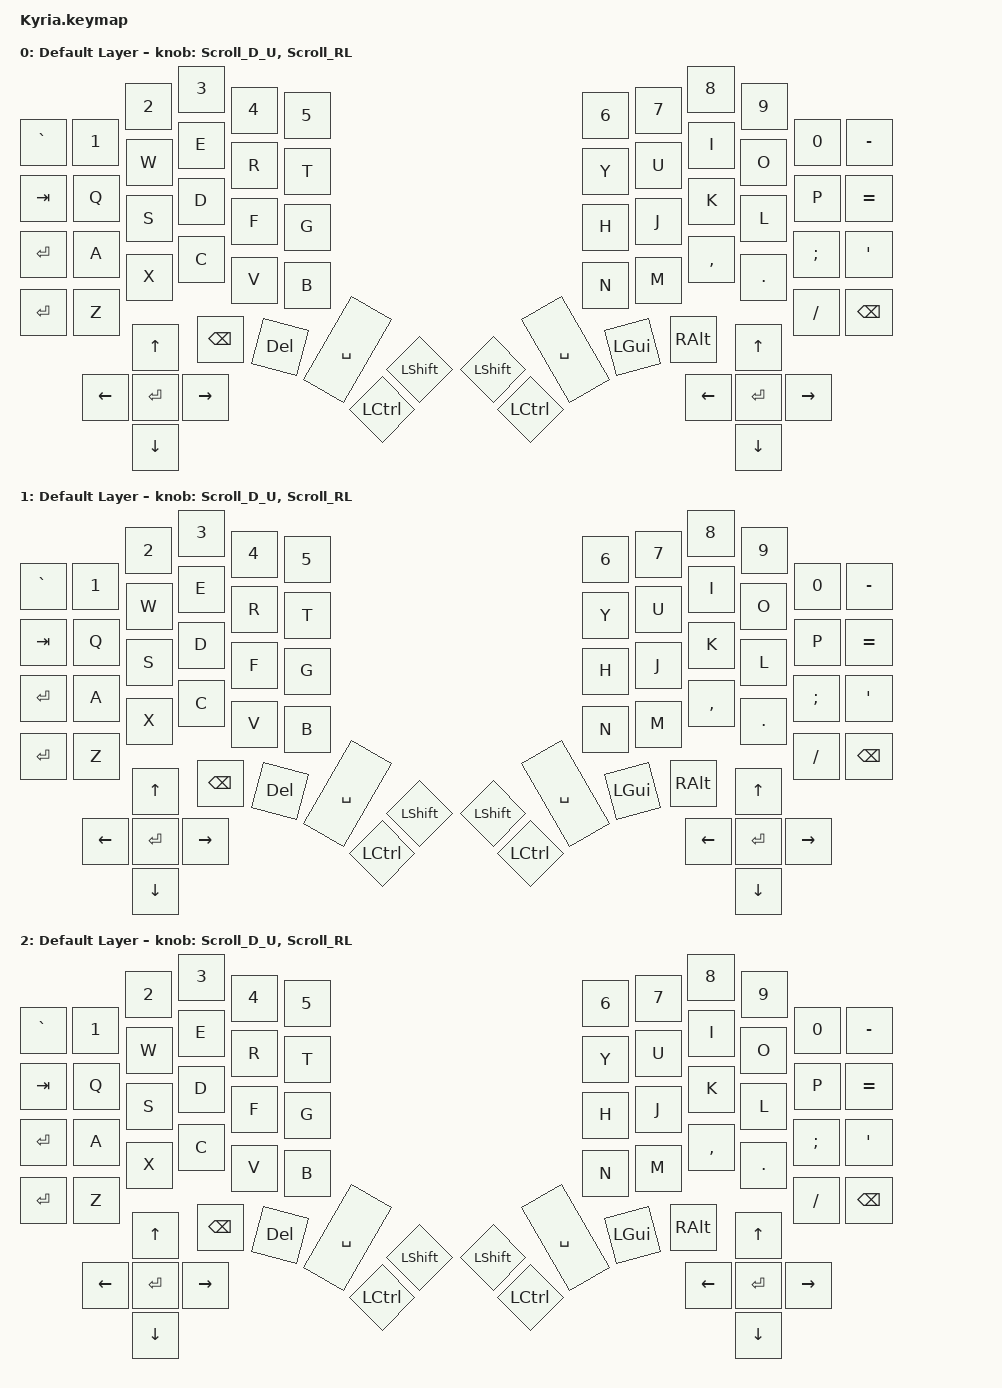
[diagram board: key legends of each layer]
/*
 * Copyright (c) 2020 The ZMK Contributors
 *
 * SPDX-License-Identifier: MIT
 */

#include <input/processors.dtsi>
#include <zephyr/dt-bindings/input/input-event-codes.h>
#include <dt-bindings/zmk/mouse.h>
#include <behaviors/mouse_keys.dtsi>
#include <behaviors.dtsi>
#include <dt-bindings/zmk/keys.h>
#include <dt-bindings/zmk/pointing.h>

#define ZMK_POINTING_DEFAULT_MOVE_VAL 1200  // 600
#define ZMK_POINTING_DEFAULT_SCRL_VAL 300   // mousescroll SPEED

&mmv_input_listener { input-processors = <&zip_xy_scaler 2 1>; };

&msc_input_listener { input-processors = <&zip_scroll_scaler 2 1>; };

&msc {
    acceleration-exponent = <1>;      // 0
    time-to-max-speed-ms = <3000>;       // 300
    delay-ms = <0>;                   // 0
};

&mmv {
    time-to-max-speed-ms = <1000>;
    acceleration-exponent = <1>;
    trigger-period-ms = <16>;
};

&soft_off {
    hold-time-ms = <3000>; // Only turn off it the key is held for 3 seconds or longer.
};

&mt { flavor = "tap-preferred"; };

&lt {
    tapping-term-ms = <300>;
    flavor = "balanced";
};

&sk {
    quick-release;
    lazy;
};

/ {
    behaviors {
        Scroll_D_U: Scroll_D_U {
            compatible = "zmk,behavior-sensor-rotate";
            label = "SCROLL_D_U";
            #sensor-binding-cells = <0>;
            bindings = <&msc SCRL_DOWN>, <&msc SCRL_UP>;

            tap-ms = <20>;
        };

        TD01: TD01 {
            compatible = "zmk,behavior-tap-dance";
            label = "TD01";
            #binding-cells = <0>;
            bindings = <&kp MINUS>, <&kp PERIOD>;
        };

        Scroll_U_D: Scroll_U_D {
            compatible = "zmk,behavior-sensor-rotate";
            label = "SCROLL_U_D";
            #sensor-binding-cells = <0>;
            bindings = <&msc SCRL_UP>, <&msc SCRL_DOWN>;

            tap-ms = <20>;
        };

        Scroll_LR: Scroll_LR {
            compatible = "zmk,behavior-sensor-rotate";
            label = "SCROLL_LR";
            #sensor-binding-cells = <0>;
            bindings = <&msc SCRL_LEFT>, <&msc SCRL_RIGHT>;

            tap-ms = <20>;
        };

        Scroll_RL: Scroll_RL {
            compatible = "zmk,behavior-sensor-rotate";
            label = "SCROLL_RL";
            #sensor-binding-cells = <0>;
            bindings = <&msc SCRL_RIGHT>, <&msc SCRL_LEFT>;

            tap-ms = <20>;
        };

        mouse_DU: mouse_DU {
            compatible = "zmk,behavior-sensor-rotate";
            label = "MOUSE_DU";
            #sensor-binding-cells = <0>;
            bindings = <&mmv MOVE_DOWN>, <&mmv MOVE_UP>;
        };

        mouse_RL: mouse_RL {
            compatible = "zmk,behavior-sensor-rotate";
            label = "MOUSE_RL";
            #sensor-binding-cells = <0>;
            bindings = <&mmv MOVE_RIGHT>, <&mmv MOVE_LEFT>;
        };
    };

    keymap {
        compatible = "zmk,keymap";

        default_layer {
            display-name = "Default Layer";
            bindings = <
&kp GRAVE  &kp N1    &kp N2   &kp N3     &kp N4     &kp N5             &kp N6     &kp N7     &kp N8     &kp N9    &kp N0     &kp MINUS
&kp TAB    &kp Q     &kp W    &kp E      &kp R      &kp T              &kp Y      &kp U      &kp I      &kp O     &kp P      &kp EQUAL
&kp RET    &kp A     &kp S    &kp D      &kp F      &kp G              &kp H      &kp J      &kp K      &kp L     &kp SEMI   &kp SQT
&kp RET    &kp Z     &kp X    &kp C      &kp V      &kp B              &kp N      &kp M      &kp COMMA  &kp DOT   &kp FSLH   &kp BSPC
           &kp BSPC  &kp DEL  &kp SPACE  &kp LCTRL  &kp LSHFT          &kp LSHFT  &kp LCTRL  &kp SPACE  &kp LGUI  &kp RALT
           &kp LEFT  &kp UP   &kp RET    &kp DOWN   &kp RIGHT          &kp LEFT   &kp DOWN   &kp RET    &kp UP    &kp RIGHT
            >;

            sensor-bindings = <&Scroll_D_U>, <&Scroll_RL>;
        };

        layer_1 {
            display-name = "Default Layer";
            bindings = <
&kp GRAVE  &kp N1    &kp N2   &kp N3     &kp N4     &kp N5             &kp N6     &kp N7     &kp N8     &kp N9    &kp N0     &kp MINUS
&kp TAB    &kp Q     &kp W    &kp E      &kp R      &kp T              &kp Y      &kp U      &kp I      &kp O     &kp P      &kp EQUAL
&kp RET    &kp A     &kp S    &kp D      &kp F      &kp G              &kp H      &kp J      &kp K      &kp L     &kp SEMI   &kp SQT
&kp RET    &kp Z     &kp X    &kp C      &kp V      &kp B              &kp N      &kp M      &kp COMMA  &kp DOT   &kp FSLH   &kp BSPC
           &kp BSPC  &kp DEL  &kp SPACE  &kp LCTRL  &kp LSHFT          &kp LSHFT  &kp LCTRL  &kp SPACE  &kp LGUI  &kp RALT
           &kp LEFT  &kp UP   &kp RET    &kp DOWN   &kp RIGHT          &kp LEFT   &kp DOWN   &kp RET    &kp UP    &kp RIGHT
            >;

            sensor-bindings = <&Scroll_D_U>, <&Scroll_RL>;
        };

        layer_2 {
            display-name = "Default Layer";
            bindings = <
&kp GRAVE  &kp N1    &kp N2   &kp N3     &kp N4     &kp N5             &kp N6     &kp N7     &kp N8     &kp N9    &kp N0     &kp MINUS
&kp TAB    &kp Q     &kp W    &kp E      &kp R      &kp T              &kp Y      &kp U      &kp I      &kp O     &kp P      &kp EQUAL
&kp RET    &kp A     &kp S    &kp D      &kp F      &kp G              &kp H      &kp J      &kp K      &kp L     &kp SEMI   &kp SQT
&kp RET    &kp Z     &kp X    &kp C      &kp V      &kp B              &kp N      &kp M      &kp COMMA  &kp DOT   &kp FSLH   &kp BSPC
           &kp BSPC  &kp DEL  &kp SPACE  &kp LCTRL  &kp LSHFT          &kp LSHFT  &kp LCTRL  &kp SPACE  &kp LGUI  &kp RALT
           &kp LEFT  &kp UP   &kp RET    &kp DOWN   &kp RIGHT          &kp LEFT   &kp DOWN   &kp RET    &kp UP    &kp RIGHT
            >;

            sensor-bindings = <&Scroll_D_U>, <&Scroll_RL>;
        };
    };
};
